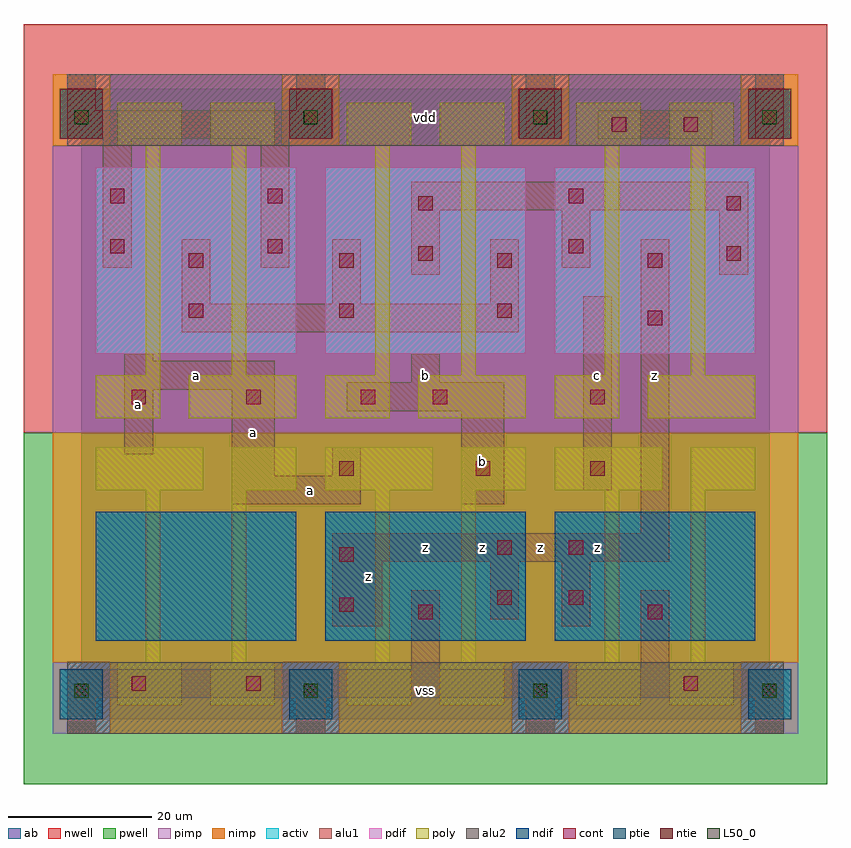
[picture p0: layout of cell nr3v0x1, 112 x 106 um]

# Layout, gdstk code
import gdstk
lib = gdstk.Library(unit=1e-6, precision=1e-09)
def R(c, l, rs):  # rectangles x0, y0, x1, y1
    for r in rs: c.add(gdstk.rectangle(r[:2], r[2:], *l))
def A(c, l, x, y, w, h, nx, ny, dx, dy):  # array of equal rectangles
    R(c, l, [(x+i*dx, y+j*dy, x+i*dx+w, y+j*dy+h) for i in range(nx) for j in range(ny)])
ndif = (3, 0)
pdif = (4, 0)
ntie = (5, 0)
ptie = (6, 0)
cont = (25, 0)
pwell = (41, 0)
nwell = (42, 0)
activ = (43, 0)
pimp = (44, 0)
nimp = (45, 0)
poly = (46, 0)
alu1 = (49, 0)
L50_0 = (50, 0)
alu2 = (51, 0)
ab = (63, 0)

nr3v0x1 = lib.new_cell('nr3v0x1')
A(nr3v0x1, ndif, 2, 11, 28, 18, 3, 1, 32, 0)
A(nr3v0x1, pdif, 2, 51, 28, 26, 3, 1, 32, 0)
A(nr3v0x1, ntie, -3, 81, 6, 7, 4, 1, 32, 0)
A(nr3v0x1, ptie, -3, 0, 6, 7, 4, 1, 32, 0)
A(nr3v0x1, cont, -1, 3, 2, 2, 4, 2, 32, 80)
A(nr3v0x1, cont, 7, 44, 2, 2, 3, 1, 16, 0)
R(nr3v0x1, cont, [(7,4,9,6), (23,4,25,6), (84,4,86,6), (47,14,49,16), (79,14,81,16), (36,15,38,17), (58,16,60,18), (68,16,70,18), (36,22,38,24), (58,23,60,25), (68,23,70,25), (36,34,38,36), (55,34,57,36), (71,34,73,36), (49,44,51,46), (71,44,73,46), (79,55,81,57), (15,56,17,58), (36,56,38,58), (58,56,60,58), (15,63,17,65), (36,63,38,65), (58,63,60,65), (79,63,81,65), (47,64,49,66), (90,64,92,66), (4,65,6,67), (26,65,28,67), (68,65,70,67), (47,71,49,73), (90,71,92,73), (4,72,6,74), (26,72,28,74), (68,72,70,74), (74,82,76,84), (84,82,86,84)])
R(nr3v0x1, pwell, [(-8,-9,104,40)])
R(nr3v0x1, nwell, [(-8,40,104,97)])
A(nr3v0x1, activ, -3, 0, 6, 7, 4, 2, 32, 81)
A(nr3v0x1, activ, 2, 11, 28, 18, 3, 1, 32, 0)
A(nr3v0x1, activ, 2, 51, 28, 26, 3, 1, 32, 0)
A(nr3v0x1, pimp, -4, -2, 8, 10, 4, 1, 32, 0)
A(nr3v0x1, pimp, 4, 80, 24, 10, 3, 1, 32, 0)
R(nr3v0x1, pimp, [(-4,40,100,80)])
A(nr3v0x1, nimp, 4, -2, 24, 10, 3, 1, 32, 0)
A(nr3v0x1, nimp, -4, 80, 8, 10, 4, 1, 32, 0)
R(nr3v0x1, nimp, [(-4,8,100,40)])
A(nr3v0x1, poly, 2, 32, 15, 6, 3, 1, 32, 0)
A(nr3v0x1, poly, 21, 32, 9, 6, 3, 1, 32, 0)
A(nr3v0x1, poly, 2, 42, 9, 6, 3, 1, 32, 0)
A(nr3v0x1, poly, 15, 42, 15, 6, 3, 1, 32, 0)
R(nr3v0x1, poly, [(5,2,14,8), (18,2,27,8), (37,2,46,8), (50,2,59,8), (69,2,78,8), (82,2,91,8), (9,8,11,32), (21,8,23,32), (41,8,43,32), (53,8,55,32), (73,8,75,32), (85,8,87,32), (9,48,11,80), (21,48,23,80), (41,48,43,80), (53,48,55,80), (73,48,75,80), (85,48,87,80), (5,80,14,86), (18,80,27,86), (37,80,46,86), (50,80,59,86), (69,80,78,86), (82,80,91,86)])
A(nr3v0x1, alu1, -2, -2, 4, 5, 4, 1, 32, 0)
R(nr3v0x1, alu1, [(-2,3,98,7), (46,7,50,18), (78,7,82,18), (35,13,42,22), (67,13,71,22), (57,14,61,22), (35,22,82,26), (78,26,82,67), (21,30,39,34), (53,30,59,43), (70,32,74,59), (21,34,27,46), (35,34,39,38), (6,37,10,46), (37,43,59,47), (6,46,27,50), (46,47,50,51), (6,50,10,51), (14,54,61,58), (14,58,18,67), (35,58,39,67), (57,58,61,67), (46,62,50,71), (89,62,93,71), (3,63,7,81), (25,63,29,81), (67,63,71,71), (46,71,93,75), (-2,81,34,85), (62,81,66,90), (72,81,88,85), (94,81,98,90), (-2,85,2,90), (30,85,34,90)])
A(nr3v0x1, L50_0, -1, 3, 2, 2, 4, 2, 32, 80)
R(nr3v0x1, alu2, [(-2,-2,98,8), (-2,80,98,90)])
R(nr3v0x1, ab, [(0,0,96,88)])
nr3v0x1.add(gdstk.Label('a', (8,44), layer=49, texttype=0))
nr3v0x1.add(gdstk.Label('a', (16,48), layer=49, texttype=0))
nr3v0x1.add(gdstk.Label('z', (40,20), layer=49, texttype=0))
nr3v0x1.add(gdstk.Label('a', (24,40), layer=49, texttype=0))
nr3v0x1.add(gdstk.Label('a', (32,32), layer=49, texttype=0))
nr3v0x1.add(gdstk.Label('z', (56,24), layer=49, texttype=0))
nr3v0x1.add(gdstk.Label('z', (64,24), layer=49, texttype=0))
nr3v0x1.add(gdstk.Label('z', (48,24), layer=49, texttype=0))
nr3v0x1.add(gdstk.Label('b', (56,36), layer=49, texttype=0))
nr3v0x1.add(gdstk.Label('b', (48,48), layer=49, texttype=0))
nr3v0x1.add(gdstk.Label('z', (72,24), layer=49, texttype=0))
nr3v0x1.add(gdstk.Label('z', (80,48), layer=49, texttype=0))
nr3v0x1.add(gdstk.Label('c', (72,48), layer=49, texttype=0))
nr3v0x1.add(gdstk.Label('vss', (48,4), layer=51, texttype=0))
nr3v0x1.add(gdstk.Label('vdd', (48,84), layer=51, texttype=0))

lib.write_gds('nr3v0x1.gds')
